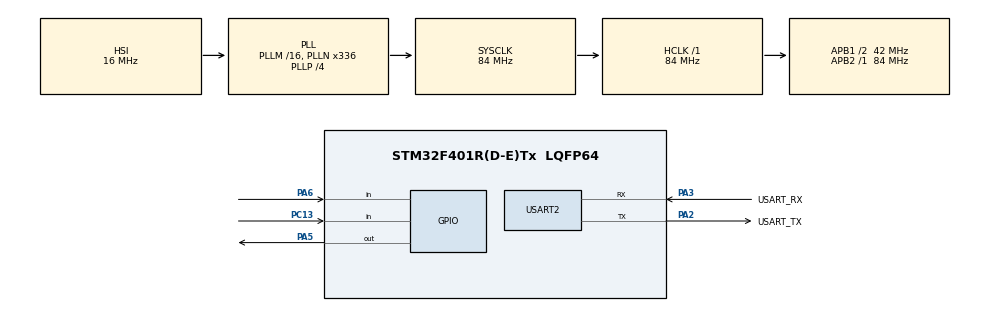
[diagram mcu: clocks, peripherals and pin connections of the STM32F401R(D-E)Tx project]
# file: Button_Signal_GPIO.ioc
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Mcu.Family=STM32F4
Mcu.Name=STM32F401R(D-E)Tx
Mcu.Package=LQFP64
NVIC.PriorityGroup=NVIC_PRIORITYGROUP_0
PA13.GPIO_Label=TMS
PA13.Mode=Serial_Wire
PA13.Signal=SYS_JTMS-SWDIO
PA14.GPIO_Label=TCK
PA14.Mode=Serial_Wire
PA14.Signal=SYS_JTCK-SWCLK
PA2.GPIO_Label=USART_TX
PA2.GPIO_Mode=GPIO_MODE_AF_PP
PA2.GPIO_PuPd=GPIO_NOPULL
PA2.GPIO_Speed=GPIO_SPEED_FREQ_LOW
PA2.Mode=Asynchronous
PA2.Signal=USART2_TX
PA3.GPIO_Label=USART_RX
PA3.GPIO_Mode=GPIO_MODE_AF_PP
PA3.GPIO_PuPd=GPIO_NOPULL
PA3.GPIO_Speed=GPIO_SPEED_FREQ_LOW
PA3.Mode=Asynchronous
PA3.Signal=USART2_RX
PA5.Signal=GPIO_Output
PA6.Signal=GPIO_Input
PB3.GPIO_Label=SWO
PB3.Signal=SYS_JTDO-SWO
PC13-ANTI_TAMP.Signal=GPIO_Input
PC14-OSC32_IN.Mode=LSE-External-Oscillator
PC14-OSC32_IN.Signal=RCC_OSC32_IN
PC15-OSC32_OUT.Mode=LSE-External-Oscillator
PC15-OSC32_OUT.Signal=RCC_OSC32_OUT
PH0\ -\ OSC_IN.Mode=HSE-External-Clock-Source
PH0\ -\ OSC_IN.Signal=RCC_OSC_IN
PH1\ -\ OSC_OUT.Mode=HSE-External-Clock-Source
PH1\ -\ OSC_OUT.Signal=RCC_OSC_OUT
ProjectManager.HeapSize=0x200
ProjectManager.StackSize=0x400
ProjectManager.TargetToolchain=STM32CubeIDE
RCC.48MHZClocksFreq_Value=48000000
RCC.AHBFreq_Value=84000000
RCC.APB1CLKDivider=RCC_HCLK_DIV2
RCC.APB1Freq_Value=42000000
RCC.APB1TimFreq_Value=84000000
RCC.APB2Freq_Value=84000000
RCC.APB2TimFreq_Value=84000000
RCC.CortexFreq_Value=84000000
RCC.HCLKFreq_Value=84000000
RCC.HSE_VALUE=8000000
RCC.HSI_VALUE=16000000
RCC.PLLN=336
RCC.PLLP=RCC_PLLP_DIV4
RCC.PLLQ=7
RCC.SYSCLKFreq_VALUE=84000000
RCC.SYSCLKSource=RCC_SYSCLKSOURCE_PLLCLK
RCC.VCOOutputFreq_Value=336000000
USART2.VirtualMode=VM_ASYNC
board=NUCLEO-F401RE

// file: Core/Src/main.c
/* USER CODE BEGIN Header */
/**
  ******************************************************************************
  * @file           : main.c
  * @brief          : Main program body
  ******************************************************************************
  * @attention
  *
  * Copyright (c) 2024 STMicroelectronics.
  * All rights reserved.
  *
  * This software is licensed under terms that can be found in the LICENSE file
  * in the root directory of this software component.
  * If no LICENSE file comes with this software, it is provided AS-IS.
  *
  ******************************************************************************
  */
/* USER CODE END Header */
#include "main.h"

/* USER CODE BEGIN Includes */
#define DEBOUNCE_DELAY 50 // Delay in milliseconds
/* USER CODE END Includes */

UART_HandleTypeDef huart2;

void SystemClock_Config(void);
static void MX_GPIO_Init(void);
static void MX_USART2_UART_Init(void);

int main(void)
{

  /* MCU Configuration--------------------------------------------------------*/

  /* Reset of all peripherals, Initializes the Flash interface and the Systick. */
  HAL_Init();

  /* Configure the system clock */
  SystemClock_Config();

  /* Initialize all configured peripherals */
  MX_GPIO_Init();
  MX_USART2_UART_Init();
  /* USER CODE BEGIN 2 */

  uint8_t movement_detected = 0;
  uint32_t last_press_time = 0;
  uint8_t button_pressed = 0;

  /* USER CODE END 2 */

  /* Infinite loop */
  /* USER CODE BEGIN WHILE */
  while (1)
  {
	  if (HAL_GPIO_ReadPin(GPIOC, GPIO_PIN_13) == GPIO_PIN_RESET) // pulsante premuto
		  {
			  uint32_t current_time = HAL_GetTick();
			  if (!button_pressed && (current_time - last_press_time > DEBOUNCE_DELAY))
			  {
				  HAL_GPIO_WritePin(GPIOA, GPIO_PIN_5, GPIO_PIN_SET); // Imposta PA5 alto
				  last_press_time = current_time;
				  movement_detected = 1; // Segnala che il movimento è stato rilevato
				  button_pressed = 1; // Indica che il pulsante è stato premuto
			  }
		  }
		  else
		  {
			  button_pressed = 0; // Resetta lo stato del pulsante quando viene rilasciato
		  }

		  // Controlla il segnale di conferma da Raspberry Pi
		  if (movement_detected && HAL_GPIO_ReadPin(GPIOA, GPIO_PIN_6) == GPIO_PIN_SET) // Conferma ricevuta
		  {
			  HAL_GPIO_WritePin(GPIOA, GPIO_PIN_5, GPIO_PIN_RESET); // Imposta PA5 basso
			  movement_detected = 0; // Resetta lo stato
		  }
    /* USER CODE END WHILE */

  }
}

void SystemClock_Config(void)
{
  RCC_OscInitTypeDef RCC_OscInitStruct = {0};
  RCC_ClkInitTypeDef RCC_ClkInitStruct = {0};

  /** Configure the main internal regulator output voltage
  */
  __HAL_RCC_PWR_CLK_ENABLE();
  __HAL_PWR_VOLTAGESCALING_CONFIG(PWR_REGULATOR_VOLTAGE_SCALE2);

  /** Initializes the RCC Oscillators according to the specified parameters
  * in the RCC_OscInitTypeDef structure.
  */
  RCC_OscInitStruct.OscillatorType = RCC_OSCILLATORTYPE_HSI;
  RCC_OscInitStruct.HSIState = RCC_HSI_ON;
  RCC_OscInitStruct.HSICalibrationValue = RCC_HSICALIBRATION_DEFAULT;
  RCC_OscInitStruct.PLL.PLLState = RCC_PLL_ON;
  RCC_OscInitStruct.PLL.PLLSource = RCC_PLLSOURCE_HSI;
  RCC_OscInitStruct.PLL.PLLM = 16;
  RCC_OscInitStruct.PLL.PLLN = 336;
  RCC_OscInitStruct.PLL.PLLP = RCC_PLLP_DIV4;
  RCC_OscInitStruct.PLL.PLLQ = 7;
  if (HAL_RCC_OscConfig(&RCC_OscInitStruct) != HAL_OK)
  {
    Error_Handler();
  }

  /** Initializes the CPU, AHB and APB buses clocks
  */
  RCC_ClkInitStruct.ClockType = RCC_CLOCKTYPE_HCLK|RCC_CLOCKTYPE_SYSCLK
                              |RCC_CLOCKTYPE_PCLK1|RCC_CLOCKTYPE_PCLK2;
  RCC_ClkInitStruct.SYSCLKSource = RCC_SYSCLKSOURCE_PLLCLK;
  RCC_ClkInitStruct.AHBCLKDivider = RCC_SYSCLK_DIV1;
  RCC_ClkInitStruct.APB1CLKDivider = RCC_HCLK_DIV2;
  RCC_ClkInitStruct.APB2CLKDivider = RCC_HCLK_DIV1;

  if (HAL_RCC_ClockConfig(&RCC_ClkInitStruct, FLASH_LATENCY_2) != HAL_OK)
  {
    Error_Handler();
  }
}

static void MX_USART2_UART_Init(void)
{

  huart2.Instance = USART2;
  huart2.Init.BaudRate = 115200;
  huart2.Init.WordLength = UART_WORDLENGTH_8B;
  huart2.Init.StopBits = UART_STOPBITS_1;
  huart2.Init.Parity = UART_PARITY_NONE;
  huart2.Init.Mode = UART_MODE_TX_RX;
  huart2.Init.HwFlowCtl = UART_HWCONTROL_NONE;
  huart2.Init.OverSampling = UART_OVERSAMPLING_16;
  if (HAL_UART_Init(&huart2) != HAL_OK)
  {
    Error_Handler();
  }

}

static void MX_GPIO_Init(void)
{
  GPIO_InitTypeDef GPIO_InitStruct = {0};

  /* GPIO Ports Clock Enable */
  __HAL_RCC_GPIOC_CLK_ENABLE();
  __HAL_RCC_GPIOH_CLK_ENABLE();
  __HAL_RCC_GPIOA_CLK_ENABLE();
  __HAL_RCC_GPIOB_CLK_ENABLE();

  /*Configure GPIO pin Output Level */
  //HAL_GPIO_WritePin(GPIOA, GPIO_PIN_5, GPIO_PIN_RESET);

  /*Configure GPIO pin : PC13 */
  GPIO_InitStruct.Pin = GPIO_PIN_13;
  GPIO_InitStruct.Mode = GPIO_MODE_INPUT;
  GPIO_InitStruct.Pull = GPIO_NOPULL;
  HAL_GPIO_Init(GPIOC, &GPIO_InitStruct);

  /*Configure GPIO pin : PA5 */
  GPIO_InitStruct.Pin = GPIO_PIN_5;
  GPIO_InitStruct.Mode = GPIO_MODE_OUTPUT_PP;
  GPIO_InitStruct.Pull = GPIO_NOPULL;
  GPIO_InitStruct.Speed = GPIO_SPEED_FREQ_LOW;
  HAL_GPIO_Init(GPIOA, &GPIO_InitStruct);

/* USER CODE BEGIN MX_GPIO_Init_2 */
  GPIO_InitStruct.Pin = GPIO_PIN_6;
  GPIO_InitStruct.Mode = GPIO_MODE_INPUT;
  GPIO_InitStruct.Pull = GPIO_NOPULL;
  HAL_GPIO_Init(GPIOA, &GPIO_InitStruct);
/* USER CODE END MX_GPIO_Init_2 */
}

void Error_Handler(void)
{
  __disable_irq();
  while (1)
  {
  }
}
